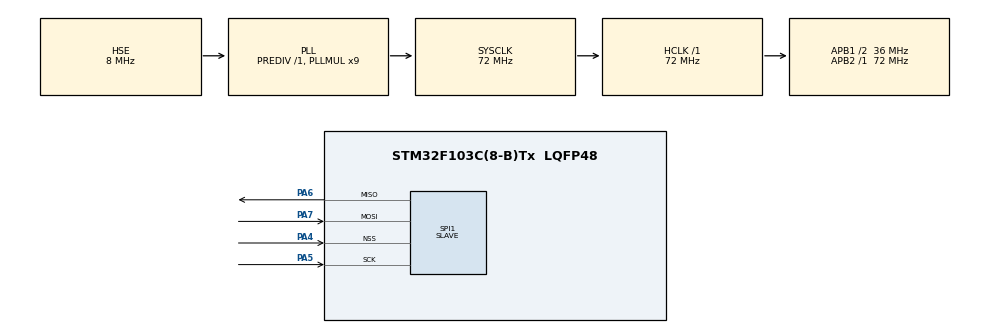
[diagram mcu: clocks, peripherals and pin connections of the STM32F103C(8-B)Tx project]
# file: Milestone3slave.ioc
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Mcu.Family=STM32F1
Mcu.Name=STM32F103C(8-B)Tx
Mcu.Package=LQFP48
NVIC.PriorityGroup=NVIC_PRIORITYGROUP_4
PA4.Mode=NSS_Signal_Hard_Input
PA4.Signal=SPI1_NSS
PA5.Mode=Full_Duplex_Slave
PA5.Signal=SPI1_SCK
PA6.Mode=Full_Duplex_Slave
PA6.Signal=SPI1_MISO
PA7.Mode=Full_Duplex_Slave
PA7.Signal=SPI1_MOSI
PD0-OSC_IN.Mode=HSE-External-Oscillator
PD0-OSC_IN.Signal=RCC_OSC_IN
PD1-OSC_OUT.Mode=HSE-External-Oscillator
PD1-OSC_OUT.Signal=RCC_OSC_OUT
ProjectManager.HeapSize=0x200
ProjectManager.StackSize=0x400
ProjectManager.TargetToolchain=STM32CubeIDE
RCC.AHBFreq_Value=72000000
RCC.APB1CLKDivider=RCC_HCLK_DIV2
RCC.APB1Freq_Value=36000000
RCC.APB1TimFreq_Value=72000000
RCC.APB2Freq_Value=72000000
RCC.APB2TimFreq_Value=72000000
RCC.HCLKFreq_Value=72000000
RCC.PLLMUL=RCC_PLL_MUL9
RCC.PLLSourceVirtual=RCC_PLLSOURCE_HSE
RCC.SYSCLKFreq_VALUE=72000000
RCC.SYSCLKSource=RCC_SYSCLKSOURCE_PLLCLK
RCC.USBFreq_Value=72000000
SPI1.Direction=SPI_DIRECTION_2LINES
SPI1.Mode=SPI_MODE_SLAVE
SPI1.VirtualNSS=VM_NSSHARD
SPI1.VirtualType=VM_SLAVE
VP_SYS_VS_ND.Mode=No_Debug
board=custom

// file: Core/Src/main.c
/* USER CODE BEGIN Header */
/**
  ******************************************************************************
  * @file           : main.c
  * @brief          : Main program body
  ******************************************************************************
  * @attention
  *
  * Copyright (c) 2026 STMicroelectronics.
  * All rights reserved.
  *
  * This software is licensed under terms that can be found in the LICENSE file
  * in the root directory of this software component.
  * If no LICENSE file comes with this software, it is provided AS-IS.
  *
  ******************************************************************************
  */
/* USER CODE END Header */

#include "main.h"

/* USER CODE BEGIN PTD */

typedef struct
{
    uint16_t id;
    uint8_t voltage_x10;
    uint16_t speed;

} CaseData;

/* USER CODE END PTD */

SPI_HandleTypeDef hspi1;

/* USER CODE BEGIN PV */

/*
 * Predefined cases
 *
 * Voltage is stored multiplied by 10:
 *
 * 12.3 V -> 123
 * 14.2 V -> 142
 * etc.
 */
CaseData cases[5] =
{
    {0x1001, 123, 200},
    {0x1002, 142, 150},
    {0x1003, 138, 100},
    {0x1004, 115, 220},
    {0x1005, 109, 280}
};

/* SPI receive buffer */
uint8_t spi_rx[3] = {0};

/* SPI transmit buffer */
uint8_t spi_tx[3] = {0};

/* Received Case ID */
uint16_t received_id = 0;

/* USER CODE END PV */

void SystemClock_Config(void);
static void MX_GPIO_Init(void);
static void MX_SPI1_Init(void);

int main(void)
{

  /* MCU Configuration--------------------------------------------------------*/

  /* Reset of all peripherals, Initializes the Flash interface and the Systick. */
  HAL_Init();

  /* Configure the system clock */
  SystemClock_Config();

  /* Initialize all configured peripherals */
  MX_GPIO_Init();
  MX_SPI1_Init();

  /* USER CODE BEGIN 2 */

  /* Initially there is no valid response */
  spi_tx[0] = 0;
  spi_tx[1] = 0;
  spi_tx[2] = 0;

  /* USER CODE END 2 */

  /* Infinite loop */
  while (1)
  {

    /* USER CODE BEGIN 3 */

    /*
     * Exchange 3 bytes with Master.
     *
     * During this SPI transaction:
     *
     * Master sends Case ID
     * Slave simultaneously sends the response
     * that was prepared during the PREVIOUS transaction.
     */
    HAL_SPI_TransmitReceive(&hspi1,
                            spi_tx,
                            spi_rx,
                            3,
                            HAL_MAX_DELAY);

    /*
     * Decode Case ID received from Master.
     *
     * Example:
     *
     * spi_rx[0] = 0x10
     * spi_rx[1] = 0x03
     *
     * received_id = 0x1003
     */
    received_id =
        ((uint16_t)spi_rx[0] << 8)
        |
        spi_rx[1];

    /*
     * Default response.
     *
     * If no valid Case ID is found,
     * send zeros on the next SPI cycle.
     */
    spi_tx[0] = 0;
    spi_tx[1] = 0;
    spi_tx[2] = 0;

    /*
     * Search through the 5 predefined cases.
     */
    for (int i = 0; i < 5; i++)
    {
        if (cases[i].id == received_id)
        {
            /*
             * Byte 0:
             * Voltage multiplied by 10
             *
             * Example:
             * 12.3 V -> 123
             */
            spi_tx[0] = cases[i].voltage_x10;

            /*
             * Byte 1:
             * Wheel Speed HIGH byte
             */
            spi_tx[1] =
                (cases[i].speed >> 8) & 0xFF;

            /*
             * Byte 2:
             * Wheel Speed LOW byte
             */
            spi_tx[2] =
                cases[i].speed & 0xFF;

            break;
        }
    }

  }

  /* USER CODE END 3 */
}

void SystemClock_Config(void)
{
  RCC_OscInitTypeDef RCC_OscInitStruct = {0};
  RCC_ClkInitTypeDef RCC_ClkInitStruct = {0};

  /** Initializes the RCC Oscillators according to the specified parameters
  * in the RCC_OscInitTypeDef structure.
  */
  RCC_OscInitStruct.OscillatorType = RCC_OSCILLATORTYPE_HSE;
  RCC_OscInitStruct.HSEState = RCC_HSE_ON;
  RCC_OscInitStruct.HSEPredivValue = RCC_HSE_PREDIV_DIV1;
  RCC_OscInitStruct.HSIState = RCC_HSI_ON;
  RCC_OscInitStruct.PLL.PLLState = RCC_PLL_ON;
  RCC_OscInitStruct.PLL.PLLSource = RCC_PLLSOURCE_HSE;
  RCC_OscInitStruct.PLL.PLLMUL = RCC_PLL_MUL9;

  if (HAL_RCC_OscConfig(&RCC_OscInitStruct) != HAL_OK)
  {
    Error_Handler();
  }

  /** Initializes the CPU, AHB and APB buses clocks
  */
  RCC_ClkInitStruct.ClockType =
      RCC_CLOCKTYPE_HCLK |
      RCC_CLOCKTYPE_SYSCLK |
      RCC_CLOCKTYPE_PCLK1 |
      RCC_CLOCKTYPE_PCLK2;

  RCC_ClkInitStruct.SYSCLKSource = RCC_SYSCLKSOURCE_PLLCLK;
  RCC_ClkInitStruct.AHBCLKDivider = RCC_SYSCLK_DIV1;
  RCC_ClkInitStruct.APB1CLKDivider = RCC_HCLK_DIV2;
  RCC_ClkInitStruct.APB2CLKDivider = RCC_HCLK_DIV1;

  if (HAL_RCC_ClockConfig(&RCC_ClkInitStruct,
                          FLASH_LATENCY_2) != HAL_OK)
  {
    Error_Handler();
  }
}

static void MX_SPI1_Init(void)
{

  /* SPI1 parameter configuration*/
  hspi1.Instance = SPI1;

  /* Slave mode */
  hspi1.Init.Mode = SPI_MODE_SLAVE;

  /* Full duplex: MOSI + MISO */
  hspi1.Init.Direction = SPI_DIRECTION_2LINES;

  /* 8 bits per SPI transfer */
  hspi1.Init.DataSize = SPI_DATASIZE_8BIT;

  /* Must match Master */
  hspi1.Init.CLKPolarity = SPI_POLARITY_LOW;
  hspi1.Init.CLKPhase = SPI_PHASE_1EDGE;

  /* PA4 is hardware NSS input */
  hspi1.Init.NSS = SPI_NSS_HARD_INPUT;

  /* Must match Master */
  hspi1.Init.FirstBit = SPI_FIRSTBIT_MSB;

  hspi1.Init.TIMode = SPI_TIMODE_DISABLE;
  hspi1.Init.CRCCalculation = SPI_CRCCALCULATION_DISABLE;
  hspi1.Init.CRCPolynomial = 10;

  if (HAL_SPI_Init(&hspi1) != HAL_OK)
  {
    Error_Handler();
  }

}

static void MX_GPIO_Init(void)
{

  /* GPIO Ports Clock Enable */
  __HAL_RCC_GPIOD_CLK_ENABLE();
  __HAL_RCC_GPIOA_CLK_ENABLE();

}

void Error_Handler(void)
{
  __disable_irq();
  while (1)
  {
  }
}
